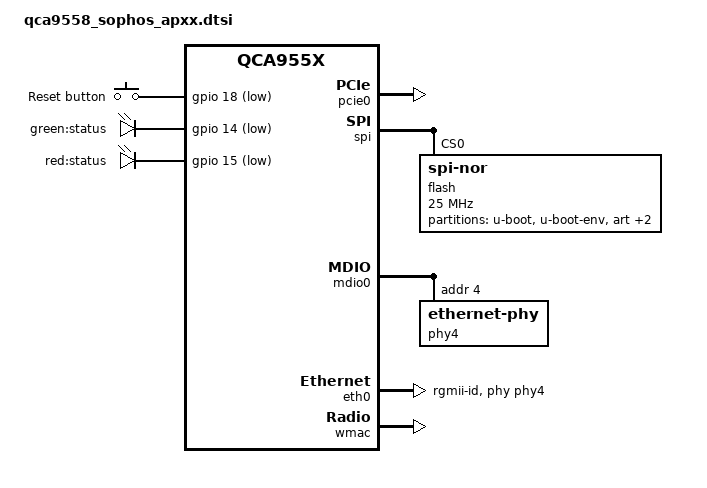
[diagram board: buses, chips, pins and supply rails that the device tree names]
// SPDX-License-Identifier: GPL-2.0-or-later OR MIT

/*
 * The hardware of this board family is most likely shared with other devices
 * from other manufacturers. Edimax appear to be the actual OEM.
 *
 * Sophos use the same exact board for the AP55C/AP100C, and AP55/AP100.
 * Yes, this means your AP55C is a 3x3 AP with a software lock, and your
 * AP55 is an AP100 with one missing antenna pigtail.
 *
 * AP55 and AP55C boards have different physical layouts, but are logically
 * almost identical. AP55/100 have a USB port which is DNF on the C models.
 *
 */

#include "qca955x.dtsi"

#include <dt-bindings/gpio/gpio.h>
#include <dt-bindings/input/input.h>

/ {
	aliases {
		led-boot = &status_green;
		led-failsafe = &status_red;
		led-running = &status_green;
		led-upgrade = &status_red;
		label-mac-device = &eth0;
	};

	keys {
		compatible = "gpio-keys";

		reset {
			label = "Reset button";
			linux,code = <KEY_RESTART>;
			gpios = <&gpio 18 GPIO_ACTIVE_LOW>;
			debounce-interval = <60>;
		};
	};

	leds {
		compatible = "gpio-leds";

		status_green: status_green {
			label = "green:status";
			gpios = <&gpio 14 GPIO_ACTIVE_LOW>;
			default-state = "on";
		};

		status_red: status_red {
			label = "red:status";
			gpios = <&gpio 15 GPIO_ACTIVE_LOW>;
		};
	};

	gpio-export {
		compatible = "gpio-export";

		gpio_usb_power: gpio_usb_power {
			status = "disabled";
			gpio-export,name = "power:usb";
			gpio-export,output = <1>;
			gpios = <&gpio 11 GPIO_ACTIVE_HIGH>;
		};
	};
};


&pcie0 {
	status = "okay";
};

&spi {
	status = "okay";

	flash@0 {
		compatible = "jedec,spi-nor";
		reg = <0>;
		spi-max-frequency = <25000000>;

		partitions {
			compatible = "fixed-partitions";
			#address-cells = <1>;
			#size-cells = <1>;

			partition@0 {
				label = "u-boot";
				reg = <0x000000 0x040000>;
				read-only;
			};

			partition@40000 {
				label = "u-boot-env";
				reg = <0x040000 0x010000>;
				read-only;
			};

			art: partition@50000 {
				label = "art";
				reg = <0x050000 0x010000>;
				read-only;
			};

			config: partition@60000 {
				label = "config";
				reg = <0x060000 0x010000>;
				read-only;
			};

			partition@70000 {
				compatible = "denx,uimage";
				label = "firmware";
				reg = <0x070000 0xf90000>;
			};
		};
	};
};

&mdio0 {
	status = "okay";
	phy-mask = <0x10>;

	phy4: ethernet-phy@4 {
		reg = <4>;
		eee-broken-100tx;
		eee-broken-1000t;
	};
};

&eth0 {
	status = "okay";

	pll-data = <0xa6000000 0xa0000101 0xa0001313>;

	nvmem-cells = <&macaddr_config_201a>;
	nvmem-cell-names = "mac-address";

	phy-mode = "rgmii-id";
	phy-handle = <&phy4>;

	gmac_config: gmac-config {
		device = <&gmac>;

		rgmii-enabled = <1>;

		rxdv-delay = <3>;
		rxd-delay = <3>;
		txen-delay = <3>;
		txd-delay = <3>;
	};
};

&wmac {
	status = "okay";

	mtd-cal-data = <&art 0x1000>;
	nvmem-cells = <&macaddr_config_2004>;
	nvmem-cell-names = "mac-address";
};

&art {
	compatible = "nvmem-cells";
	#address-cells = <1>;
	#size-cells = <1>;

	macaddr_art_5006: macaddr@5006 {
		reg = <0x5006 0x6>;
	};
};

&config {
	compatible = "nvmem-cells";
	#address-cells = <1>;
	#size-cells = <1>;

	macaddr_config_2004: macaddr@2004 {
		reg = <0x2004 0x6>;
	};

	macaddr_config_201a: macaddr@201a {
		reg = <0x201a 0x6>;
	};
};
